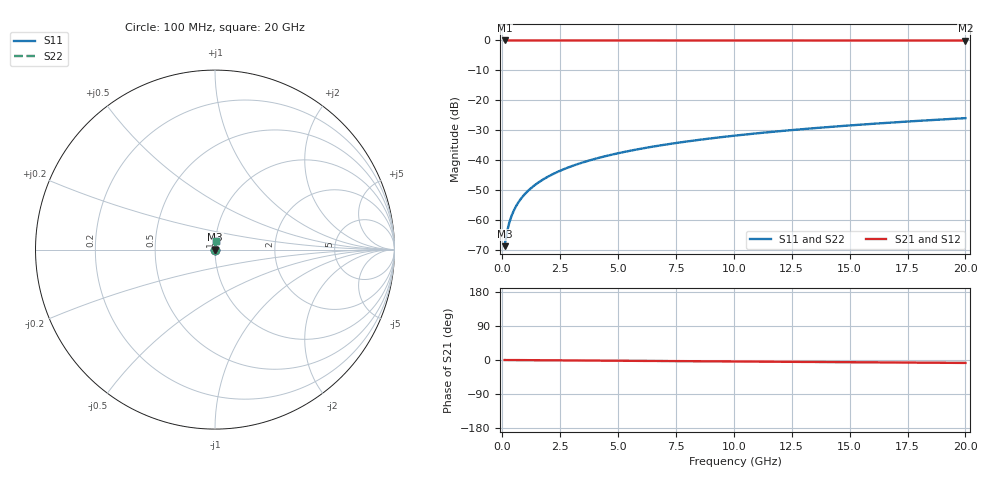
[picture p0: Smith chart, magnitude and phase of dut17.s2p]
! Touchstone file exported from HFSS 2026.1.0
!  File:  C:/ffzhzh/LocalFiles/Ansys_Project_Files/temp_val_TSV_17_1782975045_6388.aedt
!  Generated:  02:52:13 PM Jul  2, 2026
!  Design:  TSV
!  Project:  temp_val_TSV_17_1782975045_6388
! Variables:
!  h_bsmrdl = 2um
!  h_ox = 20um
!  h_rdl = 5um
!  h_sub = 68.43um
!  h_tmrdl = 5um
!  h_tsv = 68.43um
!  h_via = 3um
!  l_bsmrdl = 300um
!  l_sub = 412.84um
!  l_tmrdl = 200um
!  m_sub = 200um
!  pitch = 43.94um
!  r_tsv = 6.42um
!  s_tmrdl = 10um
!  w_bsmrdl = 18um
!  w_sub = 500um
!  w_tmrdl = 12um
!  x_tsv_center1 = 206um
!  x_tsv_center2 = 524um
!  x_tsv_center3 = 736um
!  x_tsv_center4 = 1054um
!  x_tsv_center5 = 1266um
!  x_tsv_center6 = 1584um
# GHz S MA R 50.000000
! Terminal data exported
! Port[1] = TSV1_1_T1
! Port[2] = TSV1_1_T2
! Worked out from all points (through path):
!   200 points, 100 MHz to 20 GHz, reference 50 ohm
!   highest |S21| = 0.00 dB at 100 MHz (marker M1); lowest = 0.0 dB at 20 GHz (marker M2)
!   group delay of S21, straight-line fit = 1.07 ps
!   lowest |S11| = -68.7 dB at 100 MHz (marker M3), VSWR 1.00, Z = 50 + j0.0292 ohm
!   |S11| at or under -10 dB: start of sweep to end of sweep
!   |S22| runs from -68.7 to -25.9 dB; largest |S21 - S12| = 3.4e-15
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0.1  0.000369 52.4  0.9998 -0.0  0.9998 -0.0  0.000369 52.4
! Gamma 0 0 0 0
! Port Impedance 50 0 50 0
0.2  0.0006282 68.0  0.9998 -0.1  0.9998 -0.1  0.0006282 68.0
0.3  0.0009047 74.0  0.9998 -0.1  0.9998 -0.1  0.0009047 74.0
0.4  0.001183 76.9  0.9997 -0.2  0.9997 -0.2  0.001183 76.9
0.5  0.001459 78.6  0.9997 -0.2  0.9997 -0.2  0.001459 78.6
0.6  0.001732 79.7  0.9997 -0.2  0.9997 -0.2  0.001732 79.7
0.7  0.002003 80.4  0.9997 -0.3  0.9997 -0.3  0.002003 80.4
0.8  0.00227 81.0  0.9997 -0.3  0.9997 -0.3  0.00227 81.0
1  0.0028 81.9  0.9996 -0.4  0.9996 -0.4  0.0028 81.9
1.4  0.003846 83.0  0.9996 -0.6  0.9996 -0.6  0.003846 83.0
1.7  0.004627 83.6  0.9995 -0.7  0.9995 -0.7  0.004627 83.6
2  0.005405 84.0  0.9995 -0.8  0.9995 -0.8  0.005405 84.0
2.7  0.007218 84.5  0.9994 -1.1  0.9994 -1.1  0.007218 84.5
3.5  0.009279 84.7  0.9993 -1.4  0.9993 -1.4  0.009279 84.7
4.2  0.01107 84.7  0.9992 -1.6  0.9992 -1.6  0.01107 84.7
5  0.01311 84.7  0.9991 -2.0  0.9991 -2.0  0.01311 84.7
6.8  0.01767 84.4  0.9989 -2.7  0.9989 -2.7  0.01767 84.4
8.3  0.02144 84.1  0.9988 -3.2  0.9988 -3.2  0.02144 84.1
10.1  0.02595 83.7  0.9986 -3.9  0.9986 -3.9  0.02595 83.7
13.4  0.0342 82.7  0.9982 -5.2  0.9982 -5.2  0.0342 82.7
16.7  0.04239 81.7  0.9977 -6.5  0.9977 -6.5  0.04239 81.7
20  0.05052 80.5  0.9972 -7.7  0.9972 -7.7  0.05052 80.5
